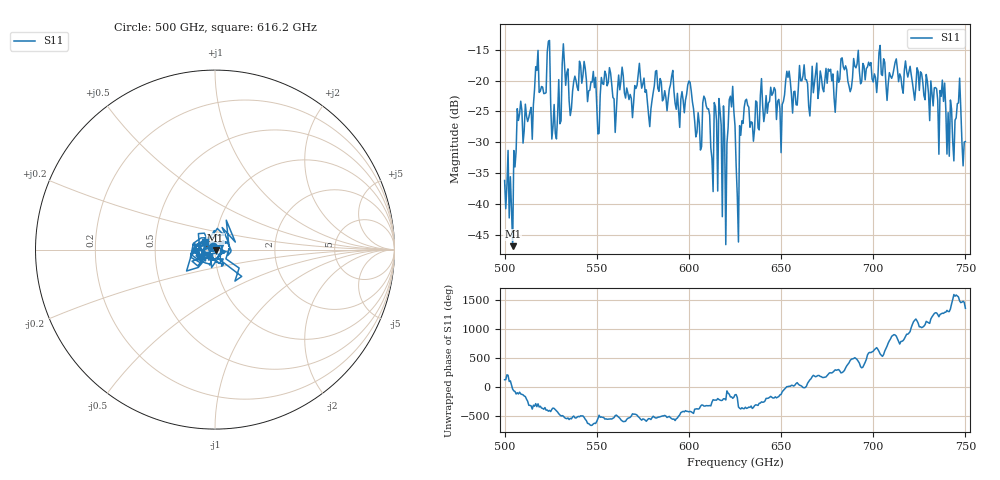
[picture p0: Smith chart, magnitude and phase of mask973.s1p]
!Created with skrf (http://scikit-rf.org).
# GHz S MA R 50.0
!freq magS11 angS11
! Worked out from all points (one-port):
!   401 points, 500 GHz to 750 GHz, reference 50 ohm
!   lowest |S11| = -46.8 dB at 504.4 GHz (marker M1), VSWR 1.01, Z = 50.4 - j0.294 ohm
!   |S11| at or under -10 dB: start of sweep to end of sweep
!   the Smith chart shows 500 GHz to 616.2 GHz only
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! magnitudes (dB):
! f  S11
! 500 GHz  -36.2
! 504.4 GHz  -46.8
! 508.1 GHz  -25.4
! 513.8 GHz  -25.1
! 523.1 GHz  -15.4
! 526.9 GHz  -23.9
! 531.2 GHz  -17.3
! 541.9 GHz  -20.4
! 551.2 GHz  -28.6
! 562.5 GHz  -21.5
! 593.8 GHz  -22.1
! 600 GHz  -20.1
! 605.6 GHz  -26.8
! 609.4 GHz  -24.1
! 617.5 GHz  -27.2
! 619.4 GHz  -29.1
! 622.5 GHz  -22.5
! 625 GHz  -27.3
! 626.9 GHz  -46.1
! 631.2 GHz  -23.0
! 634.4 GHz  -26.8
! 656.2 GHz  -25.3
! 687.5 GHz  -21.8
! 718.8 GHz  -19.4
! 737.5 GHz  -19.9
! 742.5 GHz  -24.6
! 746.2 GHz  -23.6
! 750 GHz  -29.9
